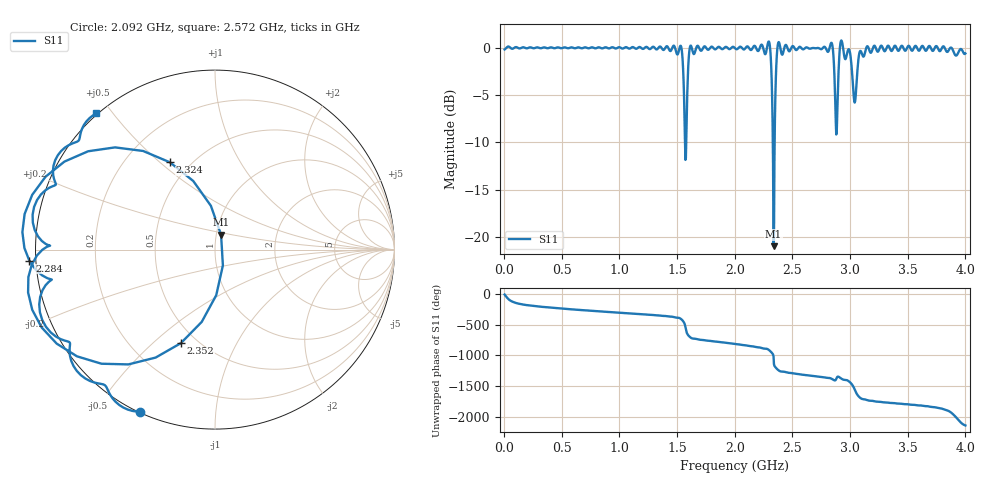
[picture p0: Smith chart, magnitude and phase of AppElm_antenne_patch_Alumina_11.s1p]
! TOUCHSTONE file generated by CST MICROWAVE STUDIO
! Date and time: Thu Jun  9 16:03:46 2022
! Project name: AppElm_antenne_patch_Alumina.cst
! Parameters = {L=30.5; W=41.8; e=0.035; h=1.6; lambda=0.190476; ls=112.5; w0=1.12; w1=0.373; ws=90; y0=14; y1=10}
! Header version: 2018
! Port assignment regex: !\s*Touchstone port\s*([0-9]+)\s*=\s*(CST MWS port|CST DS port)\s*([0-9]+|Zmin|Zmax)\s*\(\"(.*)\"\)(\s*mode\s*([0-9]+))?.*
! Touchstone port assignment:
! Touchstone port 1 = CST MWS port 1 ("")
# GHz S MA R 50
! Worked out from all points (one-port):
!   1000 points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, 4 MHz to 4 GHz, reference 50 ohm
!   lowest |S11| = -21.0 dB at 2.336 GHz (marker M1), VSWR 1.20, Z = 52.7 + j8.82 ohm
!   |S11| at or under -10 dB: 1.569 GHz to 1.579 GHz (10.16 MHz wide, 0.646 % of centre); 2.33 GHz to 2.346 GHz (15.9 MHz wide, 0.68 % of centre)
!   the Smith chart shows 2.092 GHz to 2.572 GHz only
!   S11 on the Smith chart (normalised r, x): 2.092 GHz: 0.00, -0.64; 2.284 GHz: -0.02, -0.03; 2.324 GHz: 0.39, +0.54; 2.352 GHz: 0.41, -0.62; 2.572 GHz: -0.00, +0.46
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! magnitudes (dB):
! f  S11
! 4 MHz  -0.2
! 504 MHz  0.0
! 1.004 GHz  0.0
! 1.504 GHz  -0.7
! 1.536 GHz  0.1
! 1.572 GHz  -11.8
! 1.584 GHz  -6.8
! 1.604 GHz  -0.6
! 1.62 GHz  0.2
! 2.004 GHz  -0.1
! 2.092 GHz  0.0
! 2.284 GHz  0.3
! 2.308 GHz  -0.2
! 2.324 GHz  -5.2
! 2.336 GHz  -21.0
! 2.352 GHz  -5.1
! 2.368 GHz  -0.2
! 2.38 GHz  0.6
! 2.504 GHz  0.2
! 2.572 GHz  0.1
! 2.836 GHz  0.5
! 2.88 GHz  -9.2
! 2.924 GHz  0.8
! 3.004 GHz  -0.9
! 3.04 GHz  -5.8
! 3.092 GHz  -0.3
! 3.504 GHz  0.2
! 4 GHz  -0.6
